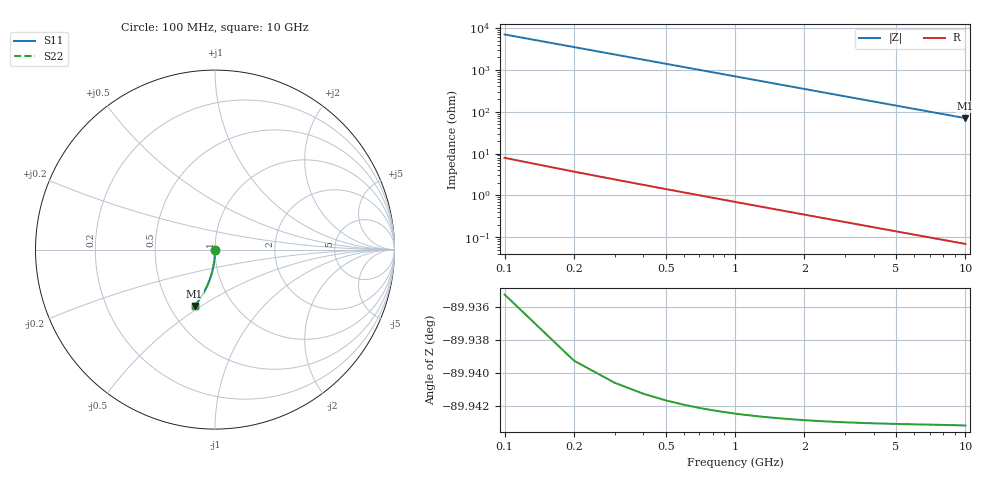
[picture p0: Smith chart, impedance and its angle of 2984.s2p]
# Hz S RI R 50.00
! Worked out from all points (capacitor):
!   100 points, 100 MHz to 10 GHz, reference 50 ohm
!   read as one part in shunt: C = 228 fF near 100 MHz
!   lowest |Z| = 69.9 ohm at 10 GHz (marker M1)
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1e8  -8.68e-06 -0.00355  1 -0.00362  1 -0.00362  -8.68e-06 -0.00355
2e8  -5.08e-05 -0.00711  0.9999 -0.00724  0.9999 -0.00724  -5.08e-05 -0.00711
3e8  -0.000119 -0.0107  0.9999 -0.0109  0.9999 -0.0109  -0.000119 -0.0107
4e8  -0.000212 -0.0142  0.9998 -0.0145  0.9998 -0.0145  -0.000212 -0.0142
5e8  -0.000332 -0.0178  0.9997 -0.0181  0.9997 -0.0181  -0.000332 -0.0178
6e8  -0.000477 -0.0213  0.9995 -0.0217  0.9995 -0.0217  -0.000477 -0.0213
7e8  -0.000647 -0.0249  0.9993 -0.0253  0.9993 -0.0253  -0.000647 -0.0249
8e8  -0.000844 -0.0284  0.9991 -0.0289  0.9991 -0.0289  -0.000844 -0.0284
9e8  -0.00107 -0.032  0.9989 -0.0326  0.9989 -0.0326  -0.00107 -0.032
1.1e9  -0.00159 -0.039  0.9984 -0.0398  0.9984 -0.0398  -0.00159 -0.039
1.4e9  -0.00256 -0.0496  0.9974 -0.0506  0.9974 -0.0506  -0.00256 -0.0496
1.8e9  -0.00421 -0.0637  0.9958 -0.0649  0.9958 -0.0649  -0.00421 -0.0637
2.1e9  -0.00571 -0.0742  0.9943 -0.0756  0.9943 -0.0756  -0.00571 -0.0742
2.5e9  -0.00806 -0.0881  0.9919 -0.0898  0.9919 -0.0898  -0.00806 -0.0881
2.9e9  -0.0108 -0.1019  0.9892 -0.1039  0.9892 -0.1039  -0.0108 -0.1019
3.4e9  -0.0148 -0.119  0.9852 -0.1213  0.9852 -0.1213  -0.0148 -0.119
4.2e9  -0.0223 -0.1458  0.9777 -0.1486  0.9777 -0.1486  -0.0223 -0.1458
5.1e9  -0.0325 -0.1752  0.9675 -0.1786  0.9675 -0.1786  -0.0325 -0.1752
5.9e9  -0.043 -0.2004  0.957 -0.2044  0.957 -0.2044  -0.043 -0.2004
6.7e9  -0.0547 -0.2247  0.9453 -0.2292  0.9453 -0.2292  -0.0547 -0.2247
8.4e9  -0.0832 -0.2729  0.9167 -0.2786  0.9167 -0.2786  -0.0832 -0.2729
1e10  -0.1138 -0.3137  0.8861 -0.3206  0.8861 -0.3206  -0.1138 -0.3137
